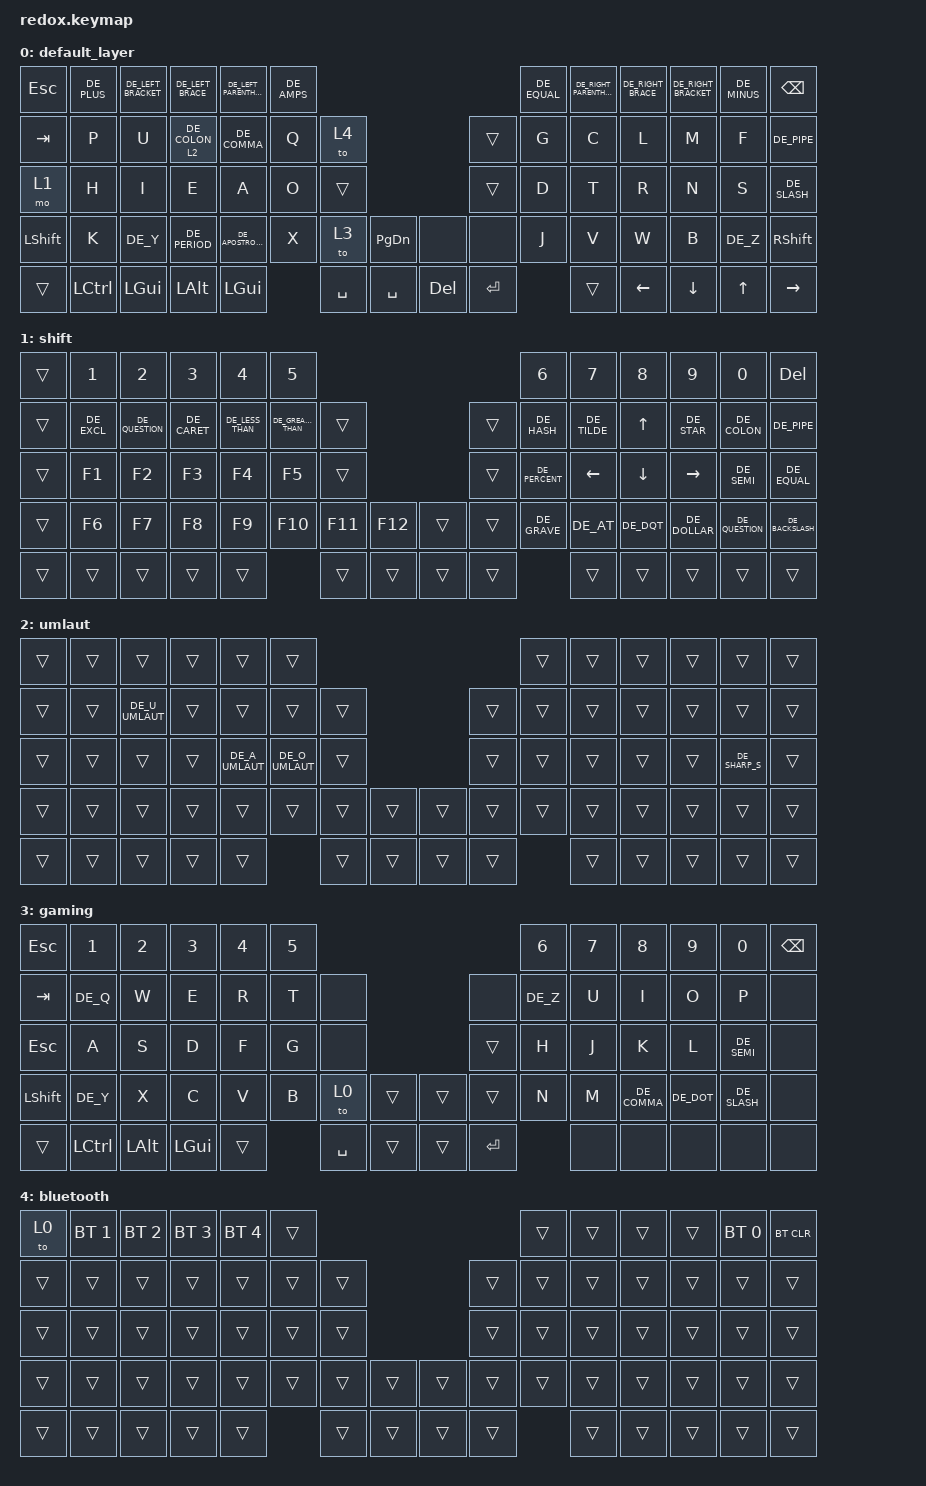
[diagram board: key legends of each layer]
/*
 * Copyright (c) 2021 The ZMK Contributors
 *
 * SPDX-License-Identifier: MIT
 */

#include "keys_de.h"
#include <behaviors.dtsi>
#include <dt-bindings/zmk/bt.h>
#include <dt-bindings/zmk/keys.h>

#define DEFAULT 0
#define SHIFT   1
#define UMLAUT  2

/ {
    keymap {
        compatible = "zmk,keymap";

        default_layer {
            // --------------------------------------------------------------------------------------------------------------------------------
            // | ESC   |  +  |  [  |   {   |  (  |  &  |                   ---                |  =    |  )    |  }    |  ]   | *  |    BSPC   |
            // | TAB   |  p  |  u  | UMLAUT|  ,  |  q  |   (   |           ---        |  )    |  g    |  c    |  l    |  m   | f  |     -     |
            // | CTRL  |  h  |  i  |   e   |  a  |  o  |   [   |           ---        |  ]    |  d    |  t    |  r    |  n   | s  |     '     |
            // | SHIFT |  k  |  y  |   .   |  '  |  x  | PG_UP | PG_DOWN | --- | HOME | END   |  j    |  v    |  w    |  b   | z  | SHFT(RET) |
            // | CRTL  | ALT | GUI | LOWER |    GUI    | SPACE | SPACE   | --- | DEL  | RETURN|     RAISE     | LEFT  | DOWN | UP |   RIGHT   |

            bindings = <
&kp ESC         &kp DE_PLUS       &kp DE_LEFT_BRACKET  &kp DE_LEFT_BRACE  &kp DE_LEFT_PARENTHESIS  &kp DE_AMPS                                              &kp DE_EQUAL  &kp DE_RIGHT_PARENTHESIS  &kp DE_RIGHT_BRACE  &kp DE_RIGHT_BRACKET  &kp DE_MINUS  &kp BSPC
&kp TAB         &kp P             &kp U                &lt 2 DE_COLON     &kp DE_COMMA             &kp Q        &to 4                            &trans     &kp G         &kp C                     &kp L               &kp M                 &kp F         &kp DE_PIPE
&mo 1           &kp H             &kp I                &kp E              &kp A                    &kp O        &trans                           &trans     &kp D         &kp T                     &kp R               &kp N                 &kp S         &kp DE_SLASH
&kp LEFT_SHIFT  &kp K             &kp DE_Y             &kp DE_PERIOD      &kp DE_APOSTROPHE        &kp X        &to 3      &kp PG_DN    &none    &none      &kp J         &kp V                     &kp W               &kp B                 &kp DE_Z      &kp RIGHT_SHIFT
&trans          &kp LEFT_CONTROL  &kp LGUI             &kp LEFT_ALT       &kp LGUI                              &kp SPACE  &kp SPACE    &kp DEL  &kp ENTER                &trans                    &kp LEFT            &kp DOWN              &kp UP        &kp RIGHT
            >;
        };

        shift {
            // --------------------------------------------------------------------------------------------------------------------------
            // | ESC   |  1  |  2  |   3   |   4   |  5  |                   ---              |  6  |  7  |   8  |  9   |  0  |  DEL  |
            // | ESC   |  1  |  2  |   3   |   4   |  5  |   (   |           ---        |  )  |  6  |  7  |   8  |  9   |  0  |  DEL  |
            // | CTRL  |  -  |  =  |   [   |   ]   |  \  |   [   |           ---        |  ]  |  *  |  4  |   5  |  6   |  +  |   -   |
            // | SHIFT | ESC | GUI | COPY  | PASTE |     | PG_UP | PG_DOWN | --- | HOME | END |  \  |  1  |   2  |  3   | RET |  RET  |
            // | CRTL  | ALT | GUI | LOWER |     GUI     | LOWER | SPACE   | --- | DEL  |  0  |    RAISE  | LEFT | DOWN | UP  | RIGHT |

            bindings = <
&trans  &kp N1       &kp N2           &kp N3        &kp N4            &kp N5                                                   &kp N6          &kp N7          &kp N8          &kp N9         &kp N0           &kp DEL
&trans  &kp DE_EXCL  &kp DE_QUESTION  &kp DE_CARET  &kp DE_LESS_THAN  &kp DE_GREATER_THAN  &trans                      &trans  &kp DE_HASH     &kp DE_TILDE    &kp UP          &kp DE_STAR    &kp DE_COLON     &kp DE_PIPE
&trans  &kp F1       &kp F2           &kp F3        &kp F4            &kp F5               &trans                      &trans  &kp DE_PERCENT  &kp LEFT_ARROW  &kp DOWN_ARROW  &kp RIGHT      &kp DE_SEMI      &kp DE_EQUAL
&trans  &kp F6       &kp F7           &kp F8        &kp F9            &kp F10              &kp F11  &kp F12    &trans  &trans  &kp DE_GRAVE    &kp DE_AT       &kp DE_DQT      &kp DE_DOLLAR  &kp DE_QUESTION  &kp DE_BACKSLASH
&trans  &trans       &trans           &trans        &trans                                 &trans   &trans     &trans  &trans                  &trans          &trans          &trans         &trans           &trans
            >;
        };

        umlaut {
            // ----------------------------------------------------------------------------------------------------------------------------
            // | ESC   |  1  |  2  |   3   |  4  |  5  |                   ---                |  6   |  7   |  8   |  9   |  0    |  DEL  |
            // | ESC   |  !  |  @  |   #   |  $  |  %  |   (   |           ---        |  )    |  ^   |  &   |  *   |  (   |  )    |  DEL  |
            // | CTRL  |  _  |  +  |   {   |  }  | "|" |   [   |           ---        |  ]    | HOME | PGUP | PRSC | UP   |  `    |   ~   |
            // | SHIFT | ESC | GUI |   (   |  )  |     | PG_UP | PG_DOWN | --- | HOME | END   | END  | PGDN | LEFT | DOWN | RIGHT |  RET  |
            // | CRTL  | ALT | GUI | LOWER |    GUI    | LOWER | SPACE   | --- | DEL  | SPACE |    RAISE    | LEFT | DOWN | UP    | RIGHT |

            bindings = <
&trans  &trans  &trans           &trans  &trans           &trans                                             &trans  &trans  &trans  &trans  &trans          &trans
&trans  &trans  &kp DE_U_UMLAUT  &trans  &trans           &trans           &trans                    &trans  &trans  &trans  &trans  &trans  &trans          &trans
&trans  &trans  &trans           &trans  &kp DE_A_UMLAUT  &kp DE_O_UMLAUT  &trans                    &trans  &trans  &trans  &trans  &trans  &kp DE_SHARP_S  &trans
&trans  &trans  &trans           &trans  &trans           &trans           &trans  &trans    &trans  &trans  &trans  &trans  &trans  &trans  &trans          &trans
&trans  &trans  &trans           &trans  &trans                            &trans  &trans    &trans  &trans          &trans  &trans  &trans  &trans          &trans
            >;
        };

        gaming {
            // -----------------------------------------------------------------------------------------
            // |  F1   |  F2   |    F3    |    F4     |     F5     | F6 |                   ---                | F7  | F8  |  F9  |  F10 | F11 | F12        |
            // | TAB   |       |          |           |            |    | BOOTL |           ---        |  )    | BT1 | BT2 |  BT3 |  BT4 | BT5 | OUTPUT TGL |
            // | CTRL  | MUTE  |  Vol Dn  |  Vol Up   | Play/Pause |    | RESET |           ---        |  ]    | F1  | F2  |  F3  |  F4  | F5  | F6         |
            // | SHIFT | PSCRN |  PSCRN   |   CAPS    |            |    | PG_UP | PG_DOWN | --- | HOME | END   | F7  | F8  |  F9  |  F10 | F11 | F12        |
            // | CRTL  | ALT   |  GUI     |   LOWER   |      GUI        | LOWER | SPACE   | --- | DEL  | SPACE |   RAISE   | LEFT | DOWN | UP  |   RIGHT    |

            bindings = <
&kp ESCAPE      &kp NUMBER_1      &kp NUMBER_2  &kp N3        &kp N4  &kp N5                                          &kp N6    &kp N7  &kp N8        &kp N9      &kp N0        &kp BACKSPACE
&kp TAB         &kp DE_Q          &kp W         &kp E         &kp R   &kp T   &none                        &none      &kp DE_Z  &kp U   &kp I         &kp O       &kp P         &none
&kp ESCAPE      &kp A             &kp S         &kp D         &kp F   &kp G   &none                        &trans     &kp H     &kp J   &kp K         &kp L       &kp DE_SEMI   &none
&kp LEFT_SHIFT  &kp DE_Y          &kp X         &kp C         &kp V   &kp B   &to 0      &trans    &trans  &trans     &kp N     &kp M   &kp DE_COMMA  &kp DE_DOT  &kp DE_SLASH  &none
&trans          &kp LEFT_CONTROL  &kp LEFT_ALT  &kp LEFT_GUI  &trans          &kp SPACE  &trans    &trans  &kp ENTER            &none   &none         &none       &none         &none
            >;
        };

        bluetooth {
            bindings = <
&to 0   &bt BT_SEL 1  &bt BT_SEL 2  &bt BT_SEL 3  &bt BT_SEL 4  &trans                                    &trans  &trans  &trans  &trans  &bt BT_SEL 0  &bt BT_CLR
&trans  &trans        &trans        &trans        &trans        &trans  &trans                    &trans  &trans  &trans  &trans  &trans  &trans        &trans
&trans  &trans        &trans        &trans        &trans        &trans  &trans                    &trans  &trans  &trans  &trans  &trans  &trans        &trans
&trans  &trans        &trans        &trans        &trans        &trans  &trans  &trans    &trans  &trans  &trans  &trans  &trans  &trans  &trans        &trans
&trans  &trans        &trans        &trans        &trans                &trans  &trans    &trans  &trans          &trans  &trans  &trans  &trans        &trans
            >;
        };
    };
};
